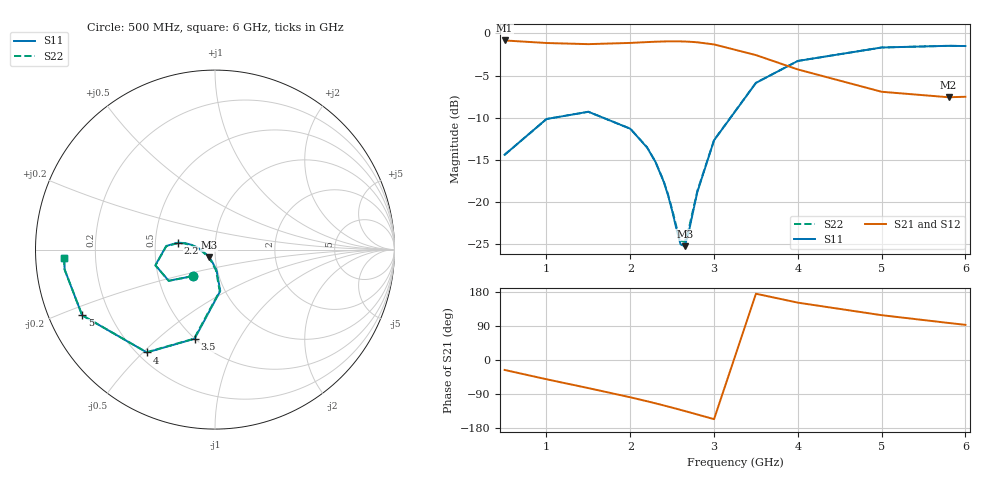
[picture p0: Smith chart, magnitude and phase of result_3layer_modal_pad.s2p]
! Top/L2/L3, intact L2; unchanged pads and tapers
! Uniform feeds de-embedded to outer pad edges
# Hz S RI R 50
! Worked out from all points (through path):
!   20 points, 500 MHz to 6 GHz, reference 50 ohm
!   highest |S21| = -0.83 dB at 500 MHz (marker M1); lowest = -7.6 dB at 5.8 GHz (marker M2)
!   lowest |S11| = -25.2 dB at 2.65 GHz (marker M3), VSWR 1.12, Z = 46.6 - j4.09 ohm
!   |S11| at or under -10 dB: start of sweep to 1.083 GHz; 1.678 GHz to 3.196 GHz (1.518 GHz wide, 62.3 % of centre)
!   |S22| runs from -24.7 to -1.5 dB; largest |S21 - S12| = 5.1e-08
!   S11 on the Smith chart (normalised r, x): 500 MHz: 0.75, -0.23; 2.2 GHz: 0.65, +0.05; 3.5 GHz: 0.50, -0.67; 4 GHz: 0.24, -0.51; 5 GHz: 0.10, -0.23; 6 GHz: 0.09, -0.03
5e8  -0.1214 -0.1473  0.8155 -0.4018  0.8155 -0.4018  -0.1212 -0.1474
1e9  -0.2581 -0.1736  0.5548 -0.6804  0.5548 -0.6804  -0.2577 -0.1742
1.5e9  -0.3322 -0.087  0.2356 -0.8318  0.2356 -0.8318  -0.3318 -0.0884
2e9  -0.2716 0.0203  -0.1281 -0.8697  -0.1281 -0.8697  -0.272 0.018
2.2e9  -0.2076 0.0384  -0.2871 -0.8414  -0.2871 -0.8414  -0.2085 0.0359
2.3e9  -0.1694 0.0367  -0.3677 -0.8143  -0.3677 -0.8143  -0.1706 0.0341
2.4e9  -0.1291 0.0261  -0.4473 -0.7772  -0.4473 -0.7772  -0.1306 0.0236
2.45e9  -0.1088 0.0172  -0.4863 -0.7547  -0.4863 -0.7547  -0.1104 0.0147
2.5e9  -0.0887 0.00579  -0.5242 -0.7295  -0.5242 -0.7295  -0.0905 0.00333
2.55e9  -0.0692 -0.00819  -0.561 -0.7015  -0.561 -0.7015  -0.0711 -0.0106
2.6e9  -0.0505 -0.0247  -0.5962 -0.6709  -0.5962 -0.6709  -0.0527 -0.0271
2.65e9  -0.0331 -0.0437  -0.6295 -0.6377  -0.6295 -0.6377  -0.0354 -0.046
2.7e9  -0.0172 -0.0651  -0.6607 -0.602  -0.6607 -0.602  -0.0197 -0.0673
2.8e9  0.00861 -0.1143  -0.7154 -0.5238  -0.7154 -0.5238  0.00588 -0.1162
3e9  0.0293 -0.2307  -0.7874 -0.3487  -0.7874 -0.3487  0.0261 -0.232
3.5e9  -0.1137 -0.4966  -0.7415 0.0662  -0.7415 0.0662  -0.1168 -0.4963
4e9  -0.3795 -0.573  -0.5371 0.2932  -0.5371 0.2932  -0.3817 -0.5718
5e9  -0.7399 -0.3665  -0.2137 0.3974  -0.2137 0.3974  -0.7407 -0.3652
5.8e9  -0.8374 -0.1123  -0.0565 0.4148  -0.0565 0.4148  -0.8376 -0.1111
6e9  -0.841 -0.0457  -0.0203 0.421  -0.0203 0.421  -0.8411 -0.0446
